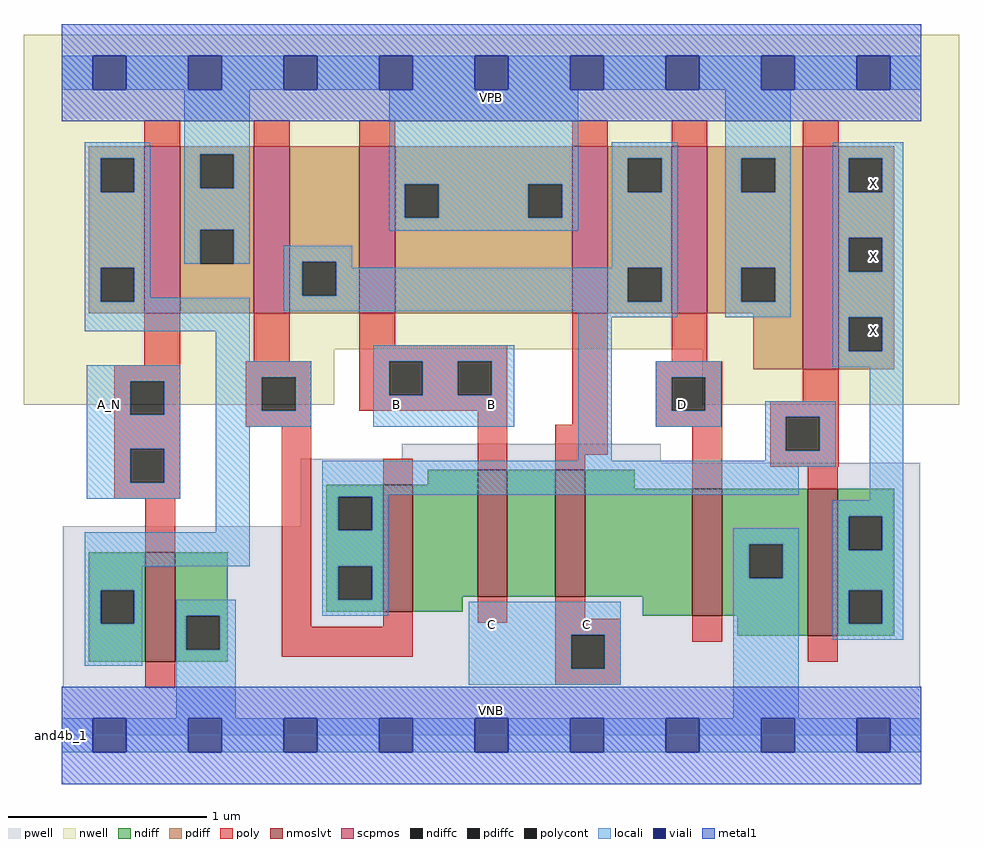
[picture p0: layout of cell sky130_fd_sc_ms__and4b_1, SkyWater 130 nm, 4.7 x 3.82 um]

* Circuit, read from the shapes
.subckt sky130_fd_sc_ms__and4b_1 A_N B C D VGND VNB VPB VPWR X
XM1 VGND A_N n1 VNB sky130_fd_pr__nfet_01v8_lvt w=0.55 l=0.15
XM2 n2 n1 n3 VNB sky130_fd_pr__nfet_01v8_lvt w=0.64 l=0.15
XM3 n4 B n2 VNB sky130_fd_pr__nfet_01v8_lvt w=0.64 l=0.15
XM4 n5 C n4 VNB sky130_fd_pr__nfet_01v8_lvt w=0.64 l=0.15
XM5 VGND D n5 VNB sky130_fd_pr__nfet_01v8_lvt w=0.64 l=0.15
XM6 X n3 VGND VNB sky130_fd_pr__nfet_01v8_lvt w=0.74 l=0.15
XM7 VPWR A_N n1 VPB sky130_fd_pr__pfet_01v8 w=0.84 l=0.18
XM8 n3 n1 VPWR VPB sky130_fd_pr__pfet_01v8 w=0.84 l=0.18
XM9 VPWR B n3 VPB sky130_fd_pr__pfet_01v8 w=0.84 l=0.18
XM10 n3 C VPWR VPB sky130_fd_pr__pfet_01v8 w=0.84 l=0.18
XM11 VPWR D n3 VPB sky130_fd_pr__pfet_01v8 w=0.84 l=0.18
XM12 X n3 VPWR VPB sky130_fd_pr__pfet_01v8 w=1.12 l=0.18
.ends

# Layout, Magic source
magic
tech sky130A
magscale 1 2
<< nwell >>
rect -38 388 902 704
rect -38 332 274 388
rect 644 332 902 388
<< pwell >>
rect 342 278 602 293
rect 240 274 602 278
rect 240 210 863 274
rect 1 49 863 210
rect 0 0 864 49
<< scpmos >>
rect 83 424 119 592
rect 193 424 229 592
rect 299 424 335 592
rect 513 424 549 592
rect 613 424 649 592
rect 745 368 781 592
<< nmoslvt >>
rect 84 74 114 184
rect 323 124 353 252
rect 418 139 448 267
rect 496 139 526 267
rect 634 120 664 248
rect 750 100 780 248
<< ndiff >>
rect 27 146 84 184
rect 27 112 39 146
rect 73 112 84 146
rect 27 74 84 112
rect 114 120 167 184
rect 114 86 125 120
rect 159 86 167 120
rect 114 74 167 86
rect 368 252 418 267
rect 266 240 323 252
rect 266 206 278 240
rect 312 206 323 240
rect 266 170 323 206
rect 266 136 278 170
rect 312 136 323 170
rect 266 124 323 136
rect 353 139 418 252
rect 448 139 496 267
rect 526 248 576 267
rect 526 139 634 248
rect 353 124 403 139
rect 584 120 634 139
rect 664 192 750 248
rect 664 158 691 192
rect 725 158 750 192
rect 664 120 750 158
rect 679 100 750 120
rect 780 220 837 248
rect 780 186 791 220
rect 825 186 837 220
rect 780 146 837 186
rect 780 112 791 146
rect 825 112 837 146
rect 780 100 837 112
<< pdiff >>
rect 27 580 83 592
rect 27 546 39 580
rect 73 546 83 580
rect 27 470 83 546
rect 27 436 39 470
rect 73 436 83 470
rect 27 424 83 436
rect 119 584 193 592
rect 119 550 139 584
rect 173 550 193 584
rect 119 508 193 550
rect 119 474 139 508
rect 173 474 193 508
rect 119 424 193 474
rect 229 476 299 592
rect 229 442 242 476
rect 276 442 299 476
rect 229 424 299 442
rect 335 554 513 592
rect 335 520 345 554
rect 379 520 469 554
rect 503 520 513 554
rect 335 424 513 520
rect 549 580 613 592
rect 549 546 569 580
rect 603 546 613 580
rect 549 470 613 546
rect 549 436 569 470
rect 603 436 613 470
rect 549 424 613 436
rect 649 580 745 592
rect 649 546 683 580
rect 717 546 745 580
rect 649 470 745 546
rect 649 436 683 470
rect 717 436 745 470
rect 649 424 745 436
rect 695 368 745 424
rect 781 580 837 592
rect 781 546 791 580
rect 825 546 837 580
rect 781 500 837 546
rect 781 466 791 500
rect 825 466 837 500
rect 781 420 837 466
rect 781 386 791 420
rect 825 386 837 420
rect 781 368 837 386
<< ndiffc >>
rect 39 112 73 146
rect 125 86 159 120
rect 278 206 312 240
rect 278 136 312 170
rect 691 158 725 192
rect 791 186 825 220
rect 791 112 825 146
<< pdiffc >>
rect 39 546 73 580
rect 39 436 73 470
rect 139 550 173 584
rect 139 474 173 508
rect 242 442 276 476
rect 345 520 379 554
rect 469 520 503 554
rect 569 546 603 580
rect 569 436 603 470
rect 683 546 717 580
rect 683 436 717 470
rect 791 546 825 580
rect 791 466 825 500
rect 791 386 825 420
<< poly >>
rect 83 592 119 618
rect 193 592 229 618
rect 299 592 335 618
rect 513 592 549 618
rect 613 592 649 618
rect 745 592 781 618
rect 83 372 119 424
rect 193 376 229 424
rect 299 392 335 424
rect 299 376 448 392
rect 53 356 119 372
rect 53 322 69 356
rect 103 322 119 356
rect 53 288 119 322
rect 185 360 251 376
rect 185 326 201 360
rect 235 326 251 360
rect 299 342 329 376
rect 363 342 398 376
rect 432 342 448 376
rect 299 326 448 342
rect 185 310 251 326
rect 53 254 69 288
rect 103 254 119 288
rect 53 238 119 254
rect 84 184 114 238
rect 221 109 251 310
rect 323 252 353 278
rect 418 267 448 326
rect 513 312 549 424
rect 613 376 649 424
rect 496 282 549 312
rect 597 360 664 376
rect 597 326 613 360
rect 647 326 664 360
rect 745 336 781 368
rect 597 310 664 326
rect 496 267 526 282
rect 634 248 664 310
rect 712 320 781 336
rect 712 286 728 320
rect 762 286 781 320
rect 712 270 781 286
rect 750 248 780 270
rect 323 109 353 124
rect 418 113 448 139
rect 496 117 526 139
rect 221 79 353 109
rect 496 101 562 117
rect 84 48 114 74
rect 496 67 512 101
rect 546 67 562 101
rect 634 94 664 120
rect 750 74 780 100
rect 496 51 562 67
<< polycont >>
rect 69 322 103 356
rect 201 326 235 360
rect 329 342 363 376
rect 398 342 432 376
rect 69 254 103 288
rect 613 326 647 360
rect 728 286 762 320
rect 512 67 546 101
<< locali >>
rect 0 649 31 683
rect 65 649 127 683
rect 161 649 223 683
rect 257 649 319 683
rect 353 649 415 683
rect 449 649 511 683
rect 545 649 607 683
rect 641 649 703 683
rect 737 649 799 683
rect 833 649 864 683
rect 23 580 89 596
rect 23 546 39 580
rect 73 546 89 580
rect 23 470 89 546
rect 123 584 189 649
rect 123 550 139 584
rect 173 550 189 584
rect 123 508 189 550
rect 123 474 139 508
rect 173 474 189 508
rect 329 554 519 649
rect 329 520 345 554
rect 379 520 469 554
rect 503 520 519 554
rect 329 507 519 520
rect 553 580 619 596
rect 553 546 569 580
rect 603 546 619 580
rect 223 476 292 492
rect 23 436 39 470
rect 73 440 89 470
rect 223 442 242 476
rect 276 470 292 476
rect 553 470 619 546
rect 276 442 569 470
rect 73 436 189 440
rect 23 406 189 436
rect 223 436 569 442
rect 603 436 619 470
rect 223 426 619 436
rect 155 376 189 406
rect 519 420 619 426
rect 667 580 733 649
rect 667 546 683 580
rect 717 546 733 580
rect 667 470 733 546
rect 667 436 683 470
rect 717 436 733 470
rect 667 420 733 436
rect 775 580 846 596
rect 775 546 791 580
rect 825 546 846 580
rect 775 500 846 546
rect 775 466 791 500
rect 825 466 846 500
rect 775 420 846 466
rect 313 376 455 392
rect 25 356 119 372
rect 25 322 69 356
rect 103 322 119 356
rect 25 288 119 322
rect 25 254 69 288
rect 103 254 119 288
rect 25 238 119 254
rect 155 360 251 376
rect 155 326 201 360
rect 235 326 251 360
rect 155 310 251 326
rect 313 342 329 376
rect 363 342 398 376
rect 432 342 455 376
rect 313 310 455 342
rect 155 204 189 310
rect 519 276 553 420
rect 775 386 791 420
rect 825 386 846 420
rect 597 360 663 376
rect 775 370 846 386
rect 597 326 613 360
rect 647 326 663 360
rect 597 310 663 326
rect 707 320 778 336
rect 707 286 728 320
rect 762 286 778 320
rect 707 276 778 286
rect 23 170 189 204
rect 262 270 778 276
rect 262 242 741 270
rect 262 240 328 242
rect 262 206 278 240
rect 312 206 328 240
rect 812 236 846 370
rect 775 220 846 236
rect 262 170 328 206
rect 23 146 81 170
rect 23 112 39 146
rect 73 112 81 146
rect 262 136 278 170
rect 312 136 328 170
rect 23 70 81 112
rect 115 120 175 136
rect 262 120 328 136
rect 675 192 741 208
rect 675 158 691 192
rect 725 158 741 192
rect 115 86 125 120
rect 159 86 175 120
rect 115 17 175 86
rect 409 101 562 134
rect 409 67 512 101
rect 546 67 562 101
rect 409 51 562 67
rect 675 17 741 158
rect 775 186 791 220
rect 825 186 846 220
rect 775 146 846 186
rect 775 112 791 146
rect 825 112 846 146
rect 775 96 846 112
rect 0 -17 31 17
rect 65 -17 127 17
rect 161 -17 223 17
rect 257 -17 319 17
rect 353 -17 415 17
rect 449 -17 511 17
rect 545 -17 607 17
rect 641 -17 703 17
rect 737 -17 799 17
rect 833 -17 864 17
<< viali >>
rect 31 649 65 683
rect 127 649 161 683
rect 223 649 257 683
rect 319 649 353 683
rect 415 649 449 683
rect 511 649 545 683
rect 607 649 641 683
rect 703 649 737 683
rect 799 649 833 683
rect 31 -17 65 17
rect 127 -17 161 17
rect 223 -17 257 17
rect 319 -17 353 17
rect 415 -17 449 17
rect 511 -17 545 17
rect 607 -17 641 17
rect 703 -17 737 17
rect 799 -17 833 17
<< metal1 >>
rect 0 683 864 715
rect 0 649 31 683
rect 65 649 127 683
rect 161 649 223 683
rect 257 649 319 683
rect 353 649 415 683
rect 449 649 511 683
rect 545 649 607 683
rect 641 649 703 683
rect 737 649 799 683
rect 833 649 864 683
rect 0 617 864 649
rect 0 17 864 49
rect 0 -17 31 17
rect 65 -17 127 17
rect 161 -17 223 17
rect 257 -17 319 17
rect 353 -17 415 17
rect 449 -17 511 17
rect 545 -17 607 17
rect 641 -17 703 17
rect 737 -17 799 17
rect 833 -17 864 17
rect 0 -49 864 -17
<< labels >>
flabel pwell s 0 0 864 49 0 FreeSans 200 0 0 0 VNB
port 6 nsew ground bidirectional
flabel nwell s 0 617 864 666 0 FreeSans 200 0 0 0 VPB
port 7 nsew power bidirectional
rlabel comment s 0 0 0 0 4 and4b_1
flabel metal1 s 0 617 864 666 0 FreeSans 340 0 0 0 VPWR
port 8 nsew power bidirectional
flabel metal1 s 0 0 864 49 0 FreeSans 340 0 0 0 VGND
port 5 nsew ground bidirectional
flabel locali s 799 390 833 424 0 FreeSans 340 0 0 0 X
port 9 nsew signal output
flabel locali s 799 464 833 498 0 FreeSans 340 0 0 0 X
port 9 nsew signal output
flabel locali s 799 538 833 572 0 FreeSans 340 0 0 0 X
port 9 nsew signal output
flabel locali s 31 316 65 350 0 FreeSans 340 0 0 0 A_N
port 1 nsew signal input
flabel locali s 607 316 641 350 0 FreeSans 340 0 0 0 D
port 4 nsew signal input
flabel locali s 415 94 449 128 0 FreeSans 340 0 0 0 C
port 3 nsew signal input
flabel locali s 511 94 545 128 0 FreeSans 340 0 0 0 C
port 3 nsew signal input
flabel locali s 319 316 353 350 0 FreeSans 340 0 0 0 B
port 2 nsew signal input
flabel locali s 415 316 449 350 0 FreeSans 340 0 0 0 B
port 2 nsew signal input
<< properties >>
string LEFsite unit
string LEFclass CORE
string FIXED_BBOX 0 0 864 666
string GDS_FILE $PDKPATH/libs.ref/sky130_fd_sc_ms/gds/sky130_fd_sc_ms.gds
string LEFsymmetry X Y
string GDS_END 3252124
string GDS_START 3244430
<< end >>
